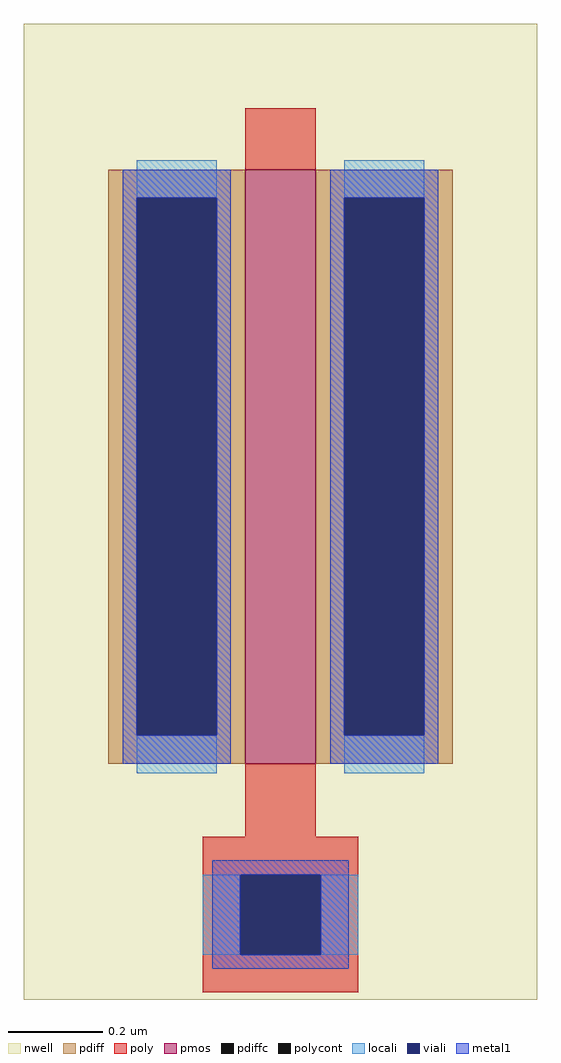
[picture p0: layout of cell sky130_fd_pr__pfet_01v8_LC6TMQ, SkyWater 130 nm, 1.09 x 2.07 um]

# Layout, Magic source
magic
tech sky130A
magscale 1 2
<< nwell >>
rect -109 -190 109 224
<< pmos >>
rect -15 -90 15 162
<< pdiff >>
rect -73 150 -15 162
rect -73 -78 -61 150
rect -27 -78 -15 150
rect -73 -90 -15 -78
rect 15 150 73 162
rect 15 -78 27 150
rect 61 -78 73 150
rect 15 -90 73 -78
<< pdiffc >>
rect -61 -78 -27 150
rect 27 -78 61 150
<< poly >>
rect -15 162 15 188
rect -15 -121 15 -90
rect -33 -137 33 -121
rect -33 -171 -17 -137
rect 17 -171 33 -137
rect -33 -187 33 -171
<< polycont >>
rect -17 -171 17 -137
<< locali >>
rect -61 150 -27 166
rect -61 -94 -27 -78
rect 27 150 61 166
rect 27 -94 61 -78
rect -33 -171 -17 -137
rect 17 -171 33 -137
<< viali >>
rect -61 -78 -27 150
rect 27 -78 61 150
rect -17 -171 17 -137
<< metal1 >>
rect -67 150 -21 162
rect -67 -78 -61 150
rect -27 -78 -21 150
rect -67 -90 -21 -78
rect 21 150 67 162
rect 21 -78 27 150
rect 61 -78 67 150
rect 21 -90 67 -78
rect -29 -137 29 -131
rect -29 -171 -17 -137
rect 17 -171 29 -137
rect -29 -177 29 -171
<< properties >>
string gencell sky130_fd_pr__pfet_01v8
string library sky130
string parameters w 1.26 l 0.15 m 1 nf 1 diffcov 100 polycov 100 guard 0 glc 1 grc 1 gtc 1 gbc 1 tbcov 100 rlcov 100 topc 0 botc 1 poverlap 0 doverlap 1 lmin 0.15 wmin 0.42 compatible {sky130_fd_pr__pfet_01v8  sky130_fd_pr__pfet_01v8_lvt sky130_fd_pr__pfet_01v8_hvt  sky130_fd_pr__pfet_g5v0d10v5} full_metal 1 viasrc 100 viadrn 100 viagate 100 viagb 0 viagr 0 viagl 0 viagt 0
<< end >>
